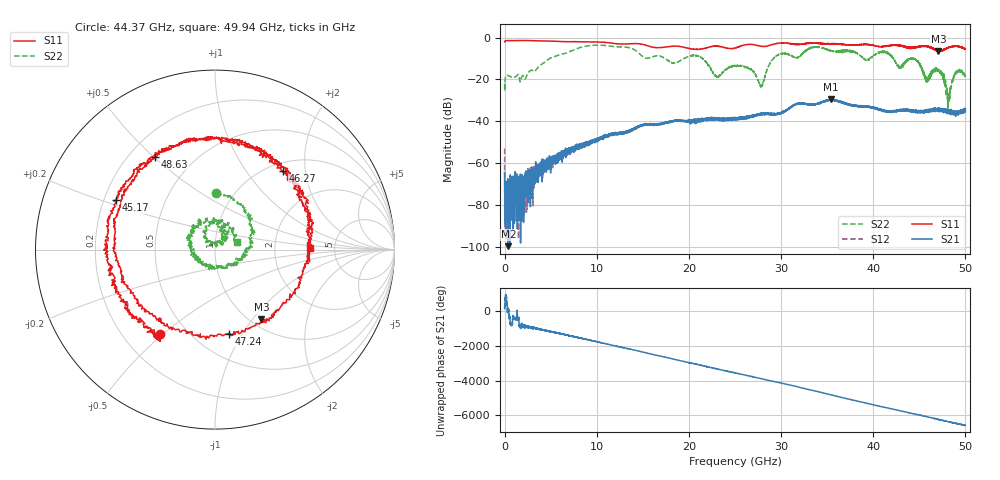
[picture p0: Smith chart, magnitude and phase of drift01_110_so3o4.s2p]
!Created with skrf (http://scikit-rf.org).
# Hz S RI R 50.0
!freq ReS11 ImS11 ReS21 ImS21 ReS12 ImS12 ReS22 ImS22
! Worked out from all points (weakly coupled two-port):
!   10001 points, 300 kHz to 50 GHz, reference 50 ohm
!   highest |S21| = -29.49 dB at 35.44 GHz (marker M1); lowest = -99.8 dB at 415.3 MHz (marker M2)
!   lowest |S11| = -6.6 dB at 47.07 GHz (marker M3), VSWR 2.75, Z = 55.8 - j55.4 ohm
!   |S11| at or under -10 dB: nowhere
!   |S22| runs from -34.9 to -3.6 dB; largest |S21 - S12| = 0.0041
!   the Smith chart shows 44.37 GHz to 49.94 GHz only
!   S11 on the Smith chart (normalised r, x): 44.37 GHz: 0.36, -0.49; 45.17 GHz: 0.25, +0.22; 46.27 GHz: 1.15, +1.52; 47.24 GHz: 0.73, -0.88; 48.63 GHz: 0.30, +0.51; 49.94 GHz: 3.26, +0.08
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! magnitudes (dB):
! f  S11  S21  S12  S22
! 300 kHz  -2.1  -64.5  -53.1  -22.1
! 415.3 MHz  -1.4  -99.8  -70.9  -18.3
! 8.335 GHz  -2.0  -50.6  -51.3  -4.5
! 16.67 GHz  -4.8  -41.4  -41.3  -8.7
! 20.96 GHz  -5.6  -40.0  -39.5  -8.7
! 23.09 GHz  -4.1  -39.1  -39.3  -18.8
! 25 GHz  -5.0  -38.9  -39.2  -13.7
! 27.84 GHz  -4.1  -36.6  -36.6  -23.2
! 29.47 GHz  -2.8  -36.9  -36.6  -8.8
! 33.34 GHz  -2.6  -32.0  -32.1  -4.7
! 35.44 GHz  -3.0  -29.5  -29.7  -6.3
! 41.67 GHz  -3.9  -35.5  -35.4  -7.6
! 42.84 GHz  -3.9  -34.8  -34.9  -14.0
! 44.37 GHz  -5.0  -35.2  -35.1  -9.9
! 45.17 GHz  -4.2  -35.6  -35.5  -14.1
! 46.27 GHz  -4.8  -34.8  -34.7  -17.6
! 47.07 GHz  -6.6  -34.4  -34.5  -16.1
! 47.24 GHz  -6.5  -34.7  -34.3  -16.9
! 48.12 GHz  -4.9  -35.7  -35.3  -31.3
! 48.63 GHz  -4.2  -36.2  -35.9  -20.3
! 49.94 GHz  -5.5  -34.9  -34.6  -17.7
! 50 GHz  -5.5  -34.3  -34.6  -18.4
